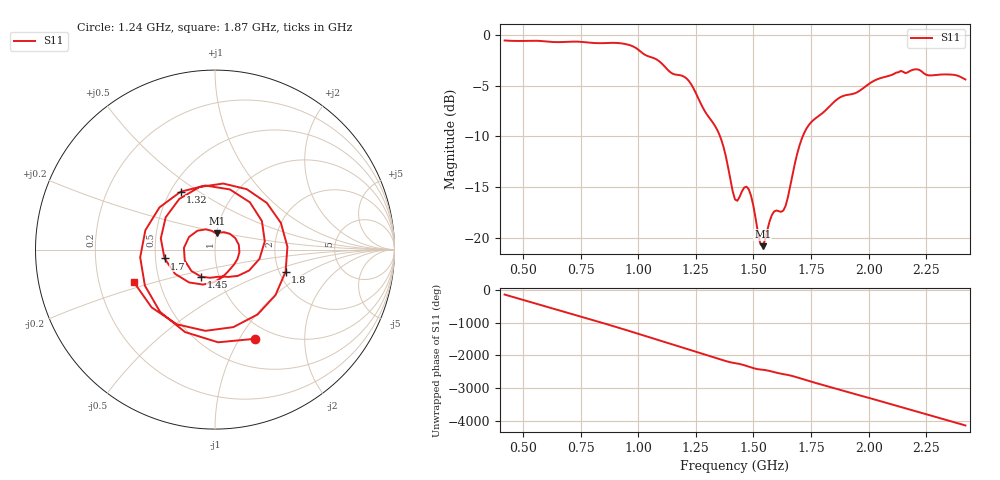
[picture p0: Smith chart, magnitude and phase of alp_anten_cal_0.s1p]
#  HZ  S  RI  R  50.00
! Rohde & Schwarz Vector Network Analyzer
! Rohde-Schwarz,ZNB8-4Port,REDACTED,3.12
! Created: UTC 3/17/2026, 6:51:35 PM
! zx75bp-1450-s
! freq[Hz]  re:S11  im:S11
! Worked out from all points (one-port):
!   201 points, 420 MHz to 2.42 GHz, reference 50 ohm
!   lowest |S11| = -20.8 dB at 1.54 GHz (marker M1), VSWR 1.20, Z = 50.2 + j9.19 ohm
!   |S11| at or under -10 dB: 1.355 GHz to 1.714 GHz (358.8 MHz wide, 23.4 % of centre)
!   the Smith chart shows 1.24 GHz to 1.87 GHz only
!   S11 on the Smith chart (normalised r, x): 1.24 GHz: 0.83, -1.17; 1.32 GHz: 0.56, +0.42; 1.45 GHz: 0.82, -0.25; 1.7 GHz: 0.56, -0.06; 1.8 GHz: 2.17, -0.64; 1.87 GHz: 0.36, -0.17
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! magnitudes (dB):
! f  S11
! 420 MHz  -0.6
! 670 MHz  -0.7
! 920 MHz  -0.8
! 980 MHz  -1.2
! 1.17 GHz  -3.9
! 1.21 GHz  -4.3
! 1.24 GHz  -5.3
! 1.32 GHz  -8.5
! 1.37 GHz  -11.0
! 1.42 GHz  -16.2
! 1.43 GHz  -16.3
! 1.45 GHz  -15.4
! 1.48 GHz  -15.2
! 1.5 GHz  -16.8
! 1.53 GHz  -20.6
! 1.54 GHz  -20.8
! 1.58 GHz  -17.7
! 1.64 GHz  -16.8
! 1.67 GHz  -13.7
! 1.7 GHz  -10.9
! 1.74 GHz  -8.9
! 1.8 GHz  -7.7
! 1.87 GHz  -6.2
! 1.92 GHz  -5.9
! 2.04 GHz  -4.4
! 2.17 GHz  -3.7
! 2.21 GHz  -3.4
! 2.42 GHz  -4.4
